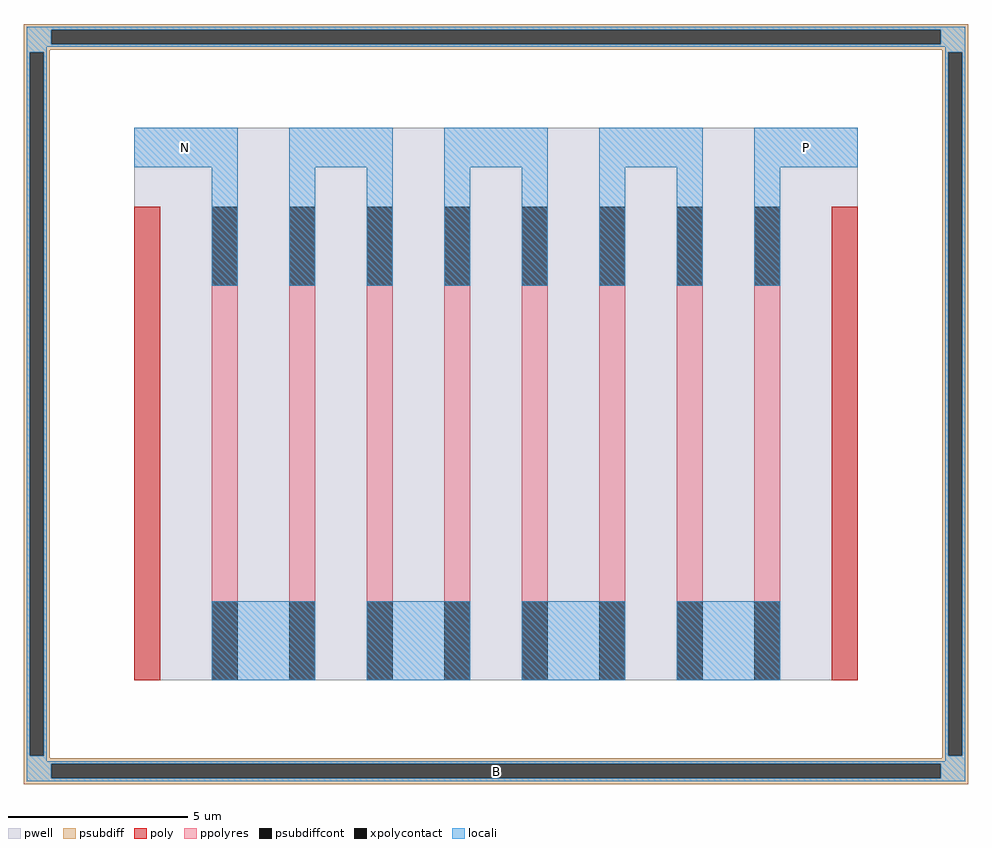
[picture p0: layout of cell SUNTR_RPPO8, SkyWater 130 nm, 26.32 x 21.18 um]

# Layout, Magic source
magic
tech sky130B
<< psubdiff >>
rect 0 2102 2632 2118
rect 0 2062 76 2102
rect 2556 2062 2632 2102
rect 0 2046 2632 2062
rect 0 2039 72 2046
rect 0 79 16 2039
rect 56 79 72 2039
rect 0 72 72 79
rect 2560 2039 2632 2046
rect 2560 79 2576 2039
rect 2616 79 2632 2039
rect 2560 72 2632 79
rect 0 56 2632 72
rect 0 16 76 56
rect 2556 16 2632 56
rect 0 0 2632 16
<< psubdiffcont >>
rect 76 2062 2556 2102
rect 16 79 56 2039
rect 2576 79 2616 2039
rect 76 16 2556 56
<< locali >>
rect 8 2102 2624 2110
rect 8 2062 76 2102
rect 2556 2062 2624 2102
rect 8 2054 2624 2062
rect 8 2039 64 2054
rect 8 79 16 2039
rect 56 79 64 2039
rect 2568 2039 2624 2054
rect 308 1719 596 1829
rect 2036 1719 2324 1829
rect 8 64 64 79
rect 2568 79 2576 2039
rect 2616 79 2624 2039
rect 2568 64 2624 79
rect 8 56 2624 64
rect 8 16 76 56
rect 2556 16 2624 56
rect 8 8 2624 16
use SUNTR_RES8  XA1
transform 1 0 344 0 1 344
box -36 -55 1980 1485
<< labels >>
flabel locali s 8 8 2624 64 0 FreeSans 200 0 0 0 B
port 3 nsew signal bidirectional
flabel locali s 2036 1719 2324 1829 0 FreeSans 200 0 0 0 P
port 1 nsew signal bidirectional
flabel locali s 308 1719 596 1829 0 FreeSans 200 0 0 0 N
port 2 nsew signal bidirectional
<< properties >>
string FIXED_BBOX 0 0 2632 2118
<< end >>

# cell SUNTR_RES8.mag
magic
tech sky130B
magscale 1 2
<< ppolyres >>
rect 360 -110 504 110
rect 792 -110 936 110
rect 1224 -110 1368 110
rect 1656 -110 1800 110
rect 2088 -110 2232 110
rect 2520 -110 2664 110
rect 2952 -110 3096 110
rect 3384 -110 3528 110
rect 360 110 504 330
rect 792 110 936 330
rect 1224 110 1368 330
rect 1656 110 1800 330
rect 2088 110 2232 330
rect 2520 110 2664 330
rect 2952 110 3096 330
rect 3384 110 3528 330
rect 360 330 504 550
rect 792 330 936 550
rect 1224 330 1368 550
rect 1656 330 1800 550
rect 2088 330 2232 550
rect 2520 330 2664 550
rect 2952 330 3096 550
rect 3384 330 3528 550
rect 360 550 504 770
rect 792 550 936 770
rect 1224 550 1368 770
rect 1656 550 1800 770
rect 2088 550 2232 770
rect 2520 550 2664 770
rect 2952 550 3096 770
rect 3384 550 3528 770
rect 360 770 504 990
rect 792 770 936 990
rect 1224 770 1368 990
rect 1656 770 1800 990
rect 2088 770 2232 990
rect 2520 770 2664 990
rect 2952 770 3096 990
rect 3384 770 3528 990
rect 360 990 504 1210
rect 792 990 936 1210
rect 1224 990 1368 1210
rect 1656 990 1800 1210
rect 2088 990 2232 1210
rect 2520 990 2664 1210
rect 2952 990 3096 1210
rect 3384 990 3528 1210
rect 360 1210 504 1430
rect 792 1210 936 1430
rect 1224 1210 1368 1430
rect 1656 1210 1800 1430
rect 2088 1210 2232 1430
rect 2520 1210 2664 1430
rect 2952 1210 3096 1430
rect 3384 1210 3528 1430
rect 360 1430 504 1650
rect 792 1430 936 1650
rect 1224 1430 1368 1650
rect 1656 1430 1800 1650
rect 2088 1430 2232 1650
rect 2520 1430 2664 1650
rect 2952 1430 3096 1650
rect 3384 1430 3528 1650
rect 360 1650 504 1870
rect 792 1650 936 1870
rect 1224 1650 1368 1870
rect 1656 1650 1800 1870
rect 2088 1650 2232 1870
rect 2520 1650 2664 1870
rect 2952 1650 3096 1870
rect 3384 1650 3528 1870
rect 360 1870 504 2090
rect 792 1870 936 2090
rect 1224 1870 1368 2090
rect 1656 1870 1800 2090
rect 2088 1870 2232 2090
rect 2520 1870 2664 2090
rect 2952 1870 3096 2090
rect 3384 1870 3528 2090
rect 360 2090 504 2310
rect 792 2090 936 2310
rect 1224 2090 1368 2310
rect 1656 2090 1800 2310
rect 2088 2090 2232 2310
rect 2520 2090 2664 2310
rect 2952 2090 3096 2310
rect 3384 2090 3528 2310
rect 360 2310 504 2530
rect 792 2310 936 2530
rect 1224 2310 1368 2530
rect 1656 2310 1800 2530
rect 2088 2310 2232 2530
rect 2520 2310 2664 2530
rect 2952 2310 3096 2530
rect 3384 2310 3528 2530
<< poly >>
rect -72 -110 72 110
rect 3816 -110 3960 110
rect -72 110 72 330
rect 3816 110 3960 330
rect -72 330 72 550
rect 3816 330 3960 550
rect -72 550 72 770
rect 3816 550 3960 770
rect -72 770 72 990
rect 3816 770 3960 990
rect -72 990 72 1210
rect 3816 990 3960 1210
rect -72 1210 72 1430
rect 3816 1210 3960 1430
rect -72 1430 72 1650
rect 3816 1430 3960 1650
rect -72 1650 72 1870
rect 3816 1650 3960 1870
rect -72 1870 72 2090
rect 3816 1870 3960 2090
rect -72 2090 72 2310
rect 3816 2090 3960 2310
rect -72 2310 72 2530
rect 3816 2310 3960 2530
<< xpolycontact >>
rect 360 -110 504 110
rect 792 -110 936 110
rect 1224 -110 1368 110
rect 1656 -110 1800 110
rect 2088 -110 2232 110
rect 2520 -110 2664 110
rect 2952 -110 3096 110
rect 3384 -110 3528 110
rect 360 110 504 330
rect 792 110 936 330
rect 1224 110 1368 330
rect 1656 110 1800 330
rect 2088 110 2232 330
rect 2520 110 2664 330
rect 2952 110 3096 330
rect 3384 110 3528 330
rect 360 2090 504 2310
rect 792 2090 936 2310
rect 1224 2090 1368 2310
rect 1656 2090 1800 2310
rect 2088 2090 2232 2310
rect 2520 2090 2664 2310
rect 2952 2090 3096 2310
rect 3384 2090 3528 2310
rect 360 2310 504 2530
rect 792 2310 936 2530
rect 1224 2310 1368 2530
rect 1656 2310 1800 2530
rect 2088 2310 2232 2530
rect 2520 2310 2664 2530
rect 2952 2310 3096 2530
rect 3384 2310 3528 2530
<< locali >>
rect 360 -110 936 110
rect 1224 -110 1800 110
rect 2088 -110 2664 110
rect 2952 -110 3528 110
rect 360 110 936 330
rect 1224 110 1800 330
rect 2088 110 2664 330
rect 2952 110 3528 330
rect 360 2090 504 2310
rect 792 2090 936 2310
rect 1224 2090 1368 2310
rect 1656 2090 1800 2310
rect 2088 2090 2232 2310
rect 2520 2090 2664 2310
rect 2952 2090 3096 2310
rect 3384 2090 3528 2310
rect 360 2310 504 2530
rect 792 2310 936 2530
rect 1224 2310 1368 2530
rect 1656 2310 1800 2530
rect 2088 2310 2232 2530
rect 2520 2310 2664 2530
rect 2952 2310 3096 2530
rect 3384 2310 3528 2530
rect 360 2530 504 2750
rect 792 2530 936 2750
rect 1224 2530 1368 2750
rect 1656 2530 1800 2750
rect 2088 2530 2232 2750
rect 2520 2530 2664 2750
rect 2952 2530 3096 2750
rect 3384 2530 3528 2750
rect -72 2750 504 2970
rect -72 2750 504 2970
rect 792 2750 1368 2970
rect 1656 2750 2232 2970
rect 2520 2750 3096 2970
rect 3384 2750 3960 2970
rect 3384 2750 3960 2970
<< pwell >>
rect -72 -110 3960 2970
<< labels >>
flabel locali s -72 2750 504 2970 0 FreeSans 400 0 0 0 N
port 1 nsew signal bidirectional
flabel locali s 3384 2750 3960 2970 0 FreeSans 400 0 0 0 P
port 2 nsew signal bidirectional
<< properties >>
string FIXED_BBOX 0 0 3888 2860
<< end >>
